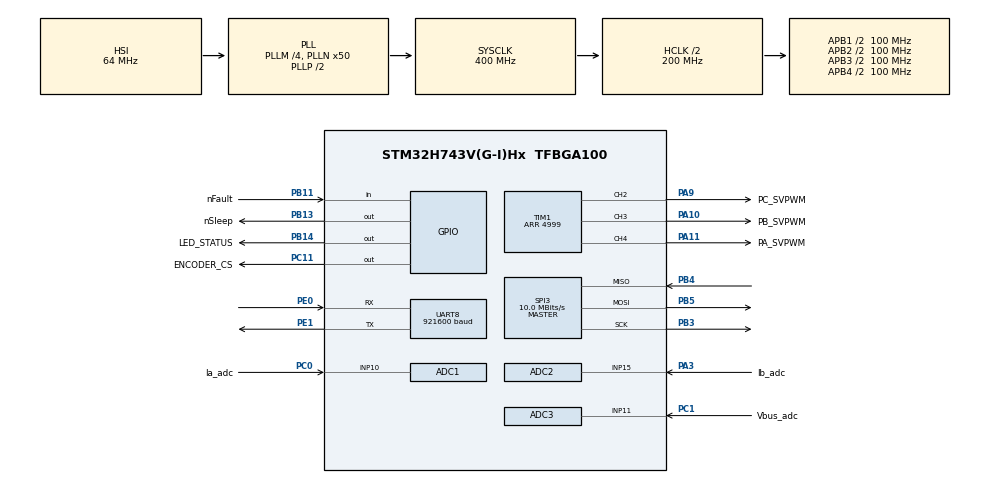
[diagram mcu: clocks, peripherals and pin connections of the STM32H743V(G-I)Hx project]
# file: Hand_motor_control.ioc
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ADC1.Channel-2\#ChannelRegularConversion=ADC_CHANNEL_10
ADC1.ClockPrescaler=ADC_CLOCK_ASYNC_DIV1
ADC1.EnableInjectedConversion=ENABLE
ADC1.ExternalTrigInjecConv=ADC_EXTERNALTRIGINJEC_T1_TRGO
ADC1.ExternalTrigInjecConvEdge=ADC_EXTERNALTRIGINJECCONV_EDGE_FALLING
ADC1.InjNumberOfConversion=1
ADC1.InjectedChannel-3\#ChannelInjectedConversion=ADC_CHANNEL_10
ADC1.InjectedOffsetNumber-3\#ChannelInjectedConversion=ADC_OFFSET_NONE
ADC1.InjectedOffsetSaturation-3\#ChannelInjectedConversion=DISABLE
ADC1.InjectedOffsetSignedSaturation-3\#ChannelInjectedConversion=DISABLE
ADC1.InjectedRank-3\#ChannelInjectedConversion=1
ADC1.InjectedSamplingTime-3\#ChannelInjectedConversion=ADC_SAMPLETIME_1CYCLE_5
ADC1.NbrOfConversionFlag=1
ADC1.OffsetNumber-2\#ChannelRegularConversion=ADC_OFFSET_NONE
ADC1.OffsetSignedSaturation-2\#ChannelRegularConversion=DISABLE
ADC1.Rank-2\#ChannelRegularConversion=1
ADC1.SamplingTime-2\#ChannelRegularConversion=ADC_SAMPLETIME_1CYCLE_5
ADC1.master=1
ADC2.Channel-1\#ChannelRegularConversion=ADC_CHANNEL_15
ADC2.ContinuousConvMode=DISABLE
ADC2.EnableInjectedConversion=ENABLE
ADC2.EnableRegularConversion=ENABLE
ADC2.ExternalTrigInjecConv=ADC_EXTERNALTRIGINJEC_T1_TRGO
ADC2.ExternalTrigInjecConvEdge=ADC_EXTERNALTRIGINJECCONV_EDGE_FALLING
ADC2.InjNumberOfConversion=1
ADC2.InjectedChannel-2\#ChannelInjectedConversion=ADC_CHANNEL_15
ADC2.InjectedOffsetNumber-2\#ChannelInjectedConversion=ADC_OFFSET_NONE
ADC2.InjectedOffsetSaturation-2\#ChannelInjectedConversion=DISABLE
ADC2.InjectedOffsetSignedSaturation-2\#ChannelInjectedConversion=DISABLE
ADC2.InjectedRank-2\#ChannelInjectedConversion=1
ADC2.InjectedSamplingTime-2\#ChannelInjectedConversion=ADC_SAMPLETIME_1CYCLE_5
ADC2.NbrOfConversionFlag=1
ADC2.OffsetNumber-1\#ChannelRegularConversion=ADC_OFFSET_NONE
ADC2.OffsetSignedSaturation-1\#ChannelRegularConversion=DISABLE
ADC2.Rank-1\#ChannelRegularConversion=1
ADC2.SamplingTime-1\#ChannelRegularConversion=ADC_SAMPLETIME_1CYCLE_5
ADC3.Channel-0\#ChannelRegularConversion=ADC_CHANNEL_11
ADC3.ClockPrescaler=ADC_CLOCK_ASYNC_DIV1
ADC3.EnableInjectedConversion=ENABLE
ADC3.ExternalTrigInjecConv=ADC_EXTERNALTRIGINJEC_T1_TRGO
ADC3.ExternalTrigInjecConvEdge=ADC_EXTERNALTRIGINJECCONV_EDGE_FALLING
ADC3.InjNumberOfConversion=1
ADC3.InjectedChannel-1\#ChannelInjectedConversion=ADC_CHANNEL_11
ADC3.InjectedOffsetNumber-1\#ChannelInjectedConversion=ADC_OFFSET_NONE
ADC3.InjectedOffsetSaturation-1\#ChannelInjectedConversion=DISABLE
ADC3.InjectedOffsetSignedSaturation-1\#ChannelInjectedConversion=DISABLE
ADC3.InjectedRank-1\#ChannelInjectedConversion=1
ADC3.InjectedSamplingTime-1\#ChannelInjectedConversion=ADC_SAMPLETIME_1CYCLE_5
ADC3.NbrOfConversionFlag=1
ADC3.OffsetNumber-0\#ChannelRegularConversion=ADC_OFFSET_NONE
ADC3.OffsetSignedSaturation-0\#ChannelRegularConversion=DISABLE
ADC3.Rank-0\#ChannelRegularConversion=1
ADC3.SamplingTime-0\#ChannelRegularConversion=ADC_SAMPLETIME_1CYCLE_5
CORTEX_M7.default_mode_Activation=1
Dma.Request0=SPI3_RX
Dma.Request1=SPI3_TX
Dma.Request2=UART8_TX
Dma.SPI3_RX.0.Direction=DMA_PERIPH_TO_MEMORY
Dma.SPI3_RX.0.EventEnable=DISABLE
Dma.SPI3_RX.0.FIFOMode=DMA_FIFOMODE_DISABLE
Dma.SPI3_RX.0.Instance=DMA1_Stream0
Dma.SPI3_RX.0.MemDataAlignment=DMA_MDATAALIGN_BYTE
Dma.SPI3_RX.0.MemInc=DMA_MINC_ENABLE
Dma.SPI3_RX.0.Mode=DMA_NORMAL
Dma.SPI3_RX.0.PeriphDataAlignment=DMA_PDATAALIGN_BYTE
Dma.SPI3_RX.0.PeriphInc=DMA_PINC_DISABLE
Dma.SPI3_RX.0.Polarity=HAL_DMAMUX_REQ_GEN_RISING
Dma.SPI3_RX.0.Priority=DMA_PRIORITY_VERY_HIGH
Dma.SPI3_RX.0.RequestNumber=1
Dma.SPI3_RX.0.SignalID=NONE
Dma.SPI3_RX.0.SyncEnable=DISABLE
Dma.SPI3_RX.0.SyncPolarity=HAL_DMAMUX_SYNC_NO_EVENT
Dma.SPI3_RX.0.SyncRequestNumber=1
Dma.SPI3_RX.0.SyncSignalID=NONE
Dma.SPI3_TX.1.Direction=DMA_MEMORY_TO_PERIPH
Dma.SPI3_TX.1.EventEnable=DISABLE
Dma.SPI3_TX.1.FIFOMode=DMA_FIFOMODE_DISABLE
Dma.SPI3_TX.1.Instance=DMA1_Stream1
Dma.SPI3_TX.1.MemDataAlignment=DMA_MDATAALIGN_BYTE
Dma.SPI3_TX.1.MemInc=DMA_MINC_ENABLE
Dma.SPI3_TX.1.Mode=DMA_NORMAL
Dma.SPI3_TX.1.PeriphDataAlignment=DMA_PDATAALIGN_BYTE
Dma.SPI3_TX.1.PeriphInc=DMA_PINC_DISABLE
Dma.SPI3_TX.1.Polarity=HAL_DMAMUX_REQ_GEN_RISING
Dma.SPI3_TX.1.Priority=DMA_PRIORITY_VERY_HIGH
Dma.SPI3_TX.1.RequestNumber=1
Dma.SPI3_TX.1.SignalID=NONE
Dma.SPI3_TX.1.SyncEnable=DISABLE
Dma.SPI3_TX.1.SyncPolarity=HAL_DMAMUX_SYNC_NO_EVENT
Dma.SPI3_TX.1.SyncRequestNumber=1
Dma.SPI3_TX.1.SyncSignalID=NONE
Dma.UART8_TX.2.Direction=DMA_MEMORY_TO_PERIPH
Dma.UART8_TX.2.EventEnable=DISABLE
Dma.UART8_TX.2.FIFOMode=DMA_FIFOMODE_DISABLE
Dma.UART8_TX.2.Instance=DMA1_Stream3
Dma.UART8_TX.2.MemDataAlignment=DMA_MDATAALIGN_BYTE
Dma.UART8_TX.2.MemInc=DMA_MINC_ENABLE
Dma.UART8_TX.2.Mode=DMA_NORMAL
Dma.UART8_TX.2.PeriphDataAlignment=DMA_PDATAALIGN_BYTE
Dma.UART8_TX.2.PeriphInc=DMA_PINC_DISABLE
Dma.UART8_TX.2.Polarity=HAL_DMAMUX_REQ_GEN_RISING
Dma.UART8_TX.2.Priority=DMA_PRIORITY_MEDIUM
Dma.UART8_TX.2.RequestNumber=1
Dma.UART8_TX.2.SignalID=NONE
Dma.UART8_TX.2.SyncEnable=DISABLE
Dma.UART8_TX.2.SyncPolarity=HAL_DMAMUX_SYNC_NO_EVENT
Dma.UART8_TX.2.SyncRequestNumber=1
Dma.UART8_TX.2.SyncSignalID=NONE
Mcu.Family=STM32H7
Mcu.Name=STM32H743V(G-I)Hx
Mcu.Package=TFBGA100
NVIC.ADC_IRQn=true\:1\:0\:true\:false\:true\:true\:true\:true
NVIC.DMA1_Stream0_IRQn=true\:0\:0\:false\:false\:true\:false\:true\:true
NVIC.DMA1_Stream1_IRQn=true\:0\:0\:false\:false\:true\:false\:true\:true
NVIC.DMA1_Stream3_IRQn=true\:7\:0\:true\:false\:true\:false\:true\:true
NVIC.PriorityGroup=NVIC_PRIORITYGROUP_4
NVIC.SPI3_IRQn=true\:0\:0\:false\:false\:true\:false\:true\:true
NVIC.TIM7_IRQn=true\:5\:0\:true\:false\:true\:true\:true\:true
NVIC.UART8_IRQn=true\:7\:0\:true\:false\:true\:true\:true\:true
PA0.GPIO_Label=NTC
PA0.Signal=ADC1_INP16
PA10.GPIO_Label=PB_SVPWM
PA10.Signal=S_TIM1_CH3
PA11.GPIO_Label=PA_SVPWM
PA11.Signal=S_TIM1_CH4
PA13\ (JTMS/SWDIO).Signal=DEBUG_JTMS-SWDIO
PA14\ (JTCK/SWCLK).Signal=DEBUG_JTCK-SWCLK
PA3.GPIO_Label=Ib_adc
PA3.Signal=ADCx_INP15
PA9.GPIO_Label=PC_SVPWM
PA9.Signal=S_TIM1_CH2
PB11.GPIO_Label=nFault
PB11.Signal=GPIO_Input
PB13.GPIO_Label=nSleep
PB13.GPIO_OutputLevel=GPIO_PIN_SET
PB13.Signal=GPIO_Output
PB14.GPIO_Label=LED_STATUS
PB14.Signal=GPIO_Output
PB3\ (JTDO/TRACESWO).GPIO_Mode=GPIO_MODE_AF_PP
PB3\ (JTDO/TRACESWO).GPIO_PuPd=GPIO_NOPULL
PB3\ (JTDO/TRACESWO).GPIO_Speed=GPIO_SPEED_FREQ_VERY_HIGH
PB3\ (JTDO/TRACESWO).Mode=Full_Duplex_Master
PB3\ (JTDO/TRACESWO).Signal=SPI3_SCK
PB4\ (NJTRST).GPIO_Mode=GPIO_MODE_AF_PP
PB4\ (NJTRST).GPIO_PuPd=GPIO_NOPULL
PB4\ (NJTRST).GPIO_Speed=GPIO_SPEED_FREQ_VERY_HIGH
PB4\ (NJTRST).Mode=Full_Duplex_Master
PB4\ (NJTRST).Signal=SPI3_MISO
PB5.GPIO_Mode=GPIO_MODE_AF_PP
PB5.GPIO_PuPd=GPIO_NOPULL
PB5.GPIO_Speed=GPIO_SPEED_FREQ_VERY_HIGH
PB5.Mode=Full_Duplex_Master
PB5.Signal=SPI3_MOSI
PC0.GPIO_Label=Ia_adc
PC0.Signal=ADCx_INP10
PC1.GPIO_Label=Vbus_adc
PC1.Signal=ADCx_INP11
PC11.GPIO_Label=ENCODER_CS
PC11.GPIO_OutputLevel=GPIO_PIN_SET
PC11.GPIO_PuPd=GPIO_PULLUP
PC11.GPIO_Speed=GPIO_SPEED_FREQ_HIGH
PC11.Signal=GPIO_Output
PC14-OSC32_IN\ (OSC32_IN).Mode=LSE-External-Oscillator
PC14-OSC32_IN\ (OSC32_IN).Signal=RCC_OSC32_IN
PC15-OSC32_OUT\ (OSC32_OUT).Mode=LSE-External-Oscillator
PC15-OSC32_OUT\ (OSC32_OUT).Signal=RCC_OSC32_OUT
PE0.Mode=Asynchronous
PE0.Signal=UART8_RX
PE1.Mode=Asynchronous
PE1.Signal=UART8_TX
PE4.Signal=SPI4_NSS
PE5.Signal=SPI4_MISO
PE6.Signal=SPI4_MOSI
PH0-OSC_IN\ (PH0).Mode=HSE-External-Oscillator
PH0-OSC_IN\ (PH0).Signal=RCC_OSC_IN
PH1-OSC_OUT\ (PH1).Mode=HSE-External-Oscillator
PH1-OSC_OUT\ (PH1).Signal=RCC_OSC_OUT
ProjectManager.HeapSize=0x200
ProjectManager.StackSize=0x400
ProjectManager.TargetToolchain=STM32CubeIDE
RCC.ADCFreq_Value=80000000
RCC.APB1Freq_Value=100000000
RCC.APB2Freq_Value=100000000
RCC.APB3Freq_Value=100000000
RCC.APB4Freq_Value=100000000
RCC.CortexFreq_Value=400000000
RCC.D1PPRE=RCC_APB3_DIV2
RCC.D2PPRE1=RCC_APB1_DIV2
RCC.D2PPRE2=RCC_APB2_DIV2
RCC.D3PPRE=RCC_APB4_DIV2
RCC.DIVM1=4
RCC.DIVM2=4
RCC.DIVM3=4
RCC.DIVN1=50
RCC.DIVN2=10
RCC.DIVN3=10
RCC.DIVP3=1
RCC.HCLKFreq_Value=200000000
RCC.HPRE=RCC_HCLK_DIV2
RCC.PLL3FRACN=0
RCC.SPI123CLockSelection=RCC_SPI123CLKSOURCE_PLL3
RCC.SYSCLKFreq_VALUE=400000000
RCC.SYSCLKSource=RCC_SYSCLKSOURCE_PLLCLK
RCC.USBFreq_Value=400000000
SH.ADCx_INP10.0=ADC1_INP10,IN10-Single-Ended
SH.ADCx_INP11.0=ADC3_INP11,IN11-Single-Ended
SH.ADCx_INP15.0=ADC2_INP15,IN15-Single-Ended
SH.S_TIM1_CH2.0=TIM1_CH2,PWM Generation2 CH2
SH.S_TIM1_CH3.0=TIM1_CH3,PWM Generation3 CH3
SH.S_TIM1_CH4.0=TIM1_CH4,PWM Generation4 CH4
SPI3.BaudRatePrescaler=SPI_BAUDRATEPRESCALER_16
SPI3.CLKPhase=SPI_PHASE_2EDGE
SPI3.CLKPolarity=SPI_POLARITY_HIGH
SPI3.CalculateBaudRate=10.0 MBits/s
SPI3.DataSize=SPI_DATASIZE_8BIT
SPI3.Direction=SPI_DIRECTION_2LINES
SPI3.MasterKeepIOState=SPI_MASTER_KEEP_IO_STATE_ENABLE
SPI3.Mode=SPI_MODE_MASTER
SPI3.NSSPMode=SPI_NSS_PULSE_DISABLE
SPI3.VirtualType=VM_MASTER
STMicroelectronics.X-CUBE-ALGOBUILD.1.5.0.LibraryCcDSPOoLibraryJjDSPOoLibrary=true
TIM1.AutoReloadPreload=TIM_AUTORELOAD_PRELOAD_ENABLE
TIM1.Channel-PWM\ Generation1\ No\ Output=TIM_CHANNEL_1
TIM1.Channel-PWM\ Generation2\ CH2=TIM_CHANNEL_2
TIM1.Channel-PWM\ Generation3\ CH3=TIM_CHANNEL_3
TIM1.Channel-PWM\ Generation4\ CH4=TIM_CHANNEL_4
TIM1.CounterMode=TIM_COUNTERMODE_CENTERALIGNED1
TIM1.Period=4999
TIM1.Pulse-PWM\ Generation1\ No\ Output=4995
TIM1.TIM_MasterOutputTrigger=TIM_TRGO_OC1REF
TIM2.Prescaler=199
TIM7.Period=999
TIM7.Prescaler=1999
UART8.BaudRate=921600
UART8.Mode=MODE_TX
VP_MEMORYMAP_VS_MEMORYMAP.Mode=CurAppReg
VP_STMicroelectronics.X-CUBE-ALGOBUILD_VS_DSPOoLibraryJjLibrary_1.5.0_1.5.0.Mode=DSPOoLibraryJjLibrary
VP_TIM1_VS_no_output1.Mode=PWM Generation1 No Output
VP_TIM2_VS_ClockSourceINT.Mode=Internal
VP_TIM7_VS_ClockSourceINT.Mode=Enable_Timer
board=custom

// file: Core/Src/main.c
/* USER CODE BEGIN Header */
/**
  ******************************************************************************
  * @file           : main.c
  * @brief          : Main program body
  ******************************************************************************
  * @attention
  *
  * Copyright (c) 2026 STMicroelectronics.
  * All rights reserved.
  *
  * This software is licensed under terms that can be found in the LICENSE file
  * in the root directory of this software component.
  * If no LICENSE file comes with this software, it is provided AS-IS.
  *
  ******************************************************************************
  */
/* USER CODE END Header */
#include "main.h"
#include "adc.h"
#include "dma.h"
#include "memorymap.h"
#include "spi.h"
#include "tim.h"
#include "usart.h"
#include "gpio.h"

/* USER CODE BEGIN Includes */
#include <foc.h>
#include <foc_math.h>
#include "arm_math.h"
#include <gpio_port.h>
#include <pwm_port.h>
#include "current_sensor.h"
#include <config.h>
#include "Calib.h"
#include "encoder_mt6826.h"
#include "adrc.h"
#include "uart_logger.h"
/* USER CODE END Includes */

/* USER CODE BEGIN PV */

	// KHỞI TẠO BIẾN, STATE , STRUCT FOC
	volatile uint32_t foc_elapsed_time = 0;

	volatile uint32_t spi3_elapsed_time = 0;

	volatile float current_homing = 0;

	uint32_t homing_start_tick = 0U;

	uint32_t homing_stall_start_tick = 0U;

	foc_t foc;																	// MANAGE STATES FOC

	current_sensor_t current_sensor;											// MANAGE STATE FEEDBACK DÒNG

	encoder_t encoder;															// MANAGE FEEDBACK ENCODER

	// KHỞI TẠO STRUCT MANAGE

	volatile sys_state_t sys_state = SYS_IDLE;									// MANAGE STATE PROGRAM

	volatile ctrl_mode_t ctrl_mode = POS_CTRL_MODE;								// MANAGE MODE CONTROL (DEFAULT LÀ POSITION )

	// MANAGE USER COMMAND (HIGH LEVEL)
	volatile user_command_t user_command = { .user_cmd_mode = POS_CTRL_MODE, .pos_ref_deg = 0.0f, .id_ref = 0.0f, .iq_ref = 0.0f,

											 .rpm_ref = 0.0f,   .vd_ref = 0.0f,  .vq_ref = 0.0f,  .theta_e_ref = 0.0f };

	// KHỞI TẠO STRUCT MANAGE FLAG
	volatile flag_t sys_flag = { .start_req = 1U, .run_req = 0U, .stop_req = 0U, .mcu_reset_req = 0U,

								.change_mode = 0U, .current_offset_done = 0, .homing_done = 0U, .calib_encoder_offet_done = 0U};

	// KHỞI TẠO START UP STAGE
	volatile start_up_stage_t start_up_stage = POWER_UP;

	// KHỞI TẠO ADRC CONTROLLER
	LADRC_t ladrc;

/* USER CODE END PV */

void SystemClock_Config(void);
void PeriphCommonClock_Config(void);
static void MPU_Config(void);

int main(void)
{

  /* MPU Configuration--------------------------------------------------------*/
  MPU_Config();

  /* MCU Configuration--------------------------------------------------------*/

  /* Reset of all peripherals, Initializes the Flash interface and the Systick. */
  HAL_Init();

  /* USER CODE BEGIN Init */

  // BẬT I-CACHE
  SCB_EnableICache();

  /* USER CODE END Init */

  /* Configure the system clock */
  SystemClock_Config();

  /* Configure the peripherals common clocks */
  PeriphCommonClock_Config();

  /* Initialize all configured peripherals */
  MX_GPIO_Init();
  MX_DMA_Init();
  MX_ADC1_Init();
  MX_ADC2_Init();
  MX_ADC3_Init();
  MX_SPI3_Init();
  MX_TIM1_Init();
  MX_TIM2_Init();
  MX_TIM7_Init();
  MX_UART8_Init();
  /* USER CODE BEGIN 2 */

//  foc_voltage_bus_read(&foc);
//
//  run_calib_encoder(&foc, &encoder, CALIB_CYCLE);

  uint32_t start_time = HAL_GetTick();

  /* USER CODE END 2 */

  /* Infinite loop */

  /* USER CODE BEGIN WHILE */
  while (1)
  {
	  // LED BLINKING JUST FOR VISUALIZE 1 secs
	  if(HAL_GetTick() - start_time >= 1500U){

		  HAL_GPIO_TogglePin(LED_STATUS_GPIO_Port, LED_STATUS_Pin);					// Nháy led

		  start_time = HAL_GetTick();

	  }

	  //YÊU CẦU RESET MCU
	  if(sys_flag.mcu_reset_req == 1){

		  NVIC_SystemReset();

	  }

	  switch(sys_state){

	  	  // IDLE: KHÔNG LÀM GÌ CẢ (HIỆN TẠI CHƯA DEVELOP CASE NÀY)
		  case SYS_IDLE:

			  // NẾU CHƯA START THÌ TẮT DRIVER
			  if(sys_flag.start_req != 1){

				  drv_disable();												// TẮT DRIVER

				  pwm_set(1000, 1000, 1000);									// KHÔNG CHẠY MOTOR

				  sys_state = SYS_IDLE;											// CHƯA START THÌ VẪN Ở IDLE

				  break;
			  }

			  sys_flag.start_req = 0U;											// RESET FLAG

			  start_up_stage = POWER_UP;								      	// SET STAGE POWER UP

			  sys_state = SYS_START_UP;								      		// MOVE TO START UP STATE

			  break;

		 // MODE START UP KHI BẬT NGUỒN
		  case SYS_START_UP:

			  switch(start_up_stage){

			  	  // BẬT DRIVER, INIT FOC, CONTROLLER, ADC, PWM
			  	  case POWER_UP:

			  		  encoder_init(&encoder);													// INIT ENCODER

			  		  current_homing = 0.0f;													// RESET DÒNG HOME

			  		  homing_start_tick = 0U;													// RESET THỜI GIAN HOME

			  		  homing_stall_start_tick = 0U;

			  		  foc_init(&foc);															// KHỞI TẠO FOC

					  ladrc_init(&ladrc, CURRENT_MAX, -CURRENT_MAX);							// KHỞI TẠO ADRC SPEED CONTROLLER

			  		  // SLAVE INIT (CHƯA DEVELOP)

			  		  current_sensor_init(&current_sensor);										// KHỞI TẠO CURRENT SENSOR

			  		  drv_enable();																// BẬT DRIVER CURRENT

			  		  adc_start();																// BẬT ADC INJECTED

			  		  pwm_start();																// BẬT TIMER TẠO TRGO, DUTY 3 PHA BẰNG 50%

			  		  // SET DUTY 3 PHA BẰNG 50% NHẰM CALIB CURRENT SENSOR
					  pwm_set((uint32_t)  htim1.Init.Period / 2U,   (uint32_t) htim1.Init.Period / 2U, (uint32_t) htim1.Init.Period / 2U);

			  		  start_up_stage = CURRENT_OFFSET;

			  		  sys_flag.current_offset_done = 0U;

			  		  sys_flag.homing_done = 0U;

			  		  break;

			  	 // CALIB CURRENT OFFSET
			  	  case CURRENT_OFFSET:

			  		  // OFFSET DÒNG SẼ LẤY TRONG NGẮT ADC INJECTED
			  		  if(sys_flag.current_offset_done != 1){

			  			  break;

			  		  }

			  		  foc.offset_current_a = current_sensor.offset_a;

			  		  foc.offset_current_b = current_sensor.offset_b;

			  		  start_up_stage = WAIT_ENCODER;

			  		  break;

			  	 // CHỜ FRAME ENCODER HỢP LỆ ĐẦU TIÊN
			  	  case WAIT_ENCODER:

			  		  // CHỜ FIRST VALUE CỦA ENCODER
			  		  if(encoder.angle_initialized == 0U){

			  			  break;

			  		  }

					  sys_flag.calib_encoder_offet_done = 0;

					  start_up_stage = AUTO_CALIB;

					  break;

				  // CALIB ENCODER OFFSET
				  case AUTO_CALIB:
				  {
					  foc_off(&foc);

					  ladrc_reset(&ladrc);

					  // ADC ISR KHÔNG START DMA MỚI; CHỜ FRAME ĐANG CHẠY KẾT THÚC.
					  uint32_t dma_wait_tick = HAL_GetTick();

					  while (encoder.dma_busy && (HAL_GetTick() - dma_wait_tick < 10U)) {

					  }

					  if (encoder.dma_busy || !run_calib_encoder(&foc, &encoder, CALIB_CYCLE)) {

						  foc_off(&foc);

						  drv_disable();

						  sys_state = SYS_FAULT;

						  break;
					  }

					  // BỎ DELTA TÍCH LŨY TỪ CÁC LẦN ĐỌC POLLING TRƯỚC KHI ĐO TỐC ĐỘ LẠI.
					  encoder.angle_delta_sum = 0.0f;

					  encoder.speed_cnt = 0U;

					  encoder.speed_after_gear = 0.0f;

					  encoder.speed_filter_after_gear = 0.0f;

					  sys_flag.calib_encoder_offet_done = 1;

			  		  current_homing = 0.0f;

			  		  homing_start_tick = 0U;

			  		  homing_stall_start_tick = 0U;

			  		  start_up_stage = HOMING;

			  		  break;
				  }

			  	 // HOMING MECHANICAL
			  	  case HOMING:

			  		  uint32_t now = HAL_GetTick();

			  		  if(homing_start_tick == 0U){

			  			  homing_start_tick = now;

			  		  }

			  		// KHỞI TẠO DÒNG HOME
			  		  if(MOTOR_TYPE == 1)

						  current_homing = CURRENT_HOME;						// BƠM DÒNG DƯƠNG FOR HOME NẾU TYPE 1

			  		  else

			  			  current_homing = - CURRENT_HOME;						// BƠM DÒNG ÂM FOR HOME NẾU KHÔNG PHẢI TYPE 1

			  		// VERIFY TOUCH THE MECHANICAL LIMIT (VỀ HOME)
			  		  if((now - homing_start_tick) >= HOMING_DRIVE_TIME_MS){

			  			  float speed_abs = encoder.speed_filter_after_gear;

			  			  if(speed_abs < 0.0f){

			  				  speed_abs = -speed_abs;

			  			  }

			  			  if(speed_abs <= HOMING_SPEED_DEADBAND_RPM){

			  				  if(homing_stall_start_tick == 0U){

			  					  homing_stall_start_tick = now;

			  				  }
			  				  else if((now - homing_stall_start_tick) >= HOMING_STALL_TIME_MS){

			  					  sys_flag.homing_done = 1U;

			  				  }
			  			  }

			  			  else{

			  				  homing_stall_start_tick = 0U;

			  			  }
			  		  }

			  		  // UPDATE GÓC HOME KHI HOMING DONE
			  		  if(sys_flag.homing_done == 1){

			  			  sys_flag.homing_done = 0U;

			  			  encoder.mechanical_zero_angle = encoder.multi_angle_m ;

			  			  encoder.mechanical_angle = 0.0f;

			  			  encoder.mechanical_angle_deg = 0.0f;

			  			  encoder.angle_delta_sum = 0.0f;

			  			  encoder.speed_cnt = 0U;

			  			  encoder.speed_after_gear = 0.0f;

			  			  encoder.speed_filter_after_gear = 0.0f;

			  			  current_homing = 0.0f;

			  			  // KHỞI TẠO GIỚI HẠN MECHANICAL

			  			  start_up_stage = START_UP_DONE;

			  			  break;

			  		  }

			  		  break;

			  	 // START_UP DONE
			  	  case START_UP_DONE:

			  		  start_up_stage = START_UP_DONE;

			  		  sys_state = SYS_READY;

			  		  HAL_Delay(200);														// DELAY 200MS FOR STABILIZING

			  		  break;

			  }

			  break;

		 // MODE READY: SẴN SÀNG CHẠY KHI CÓ YÊU CẦU
		  case SYS_READY:

			  // KHI CÓ YÊU CẦU DỪNG
			  if(sys_flag.stop_req == 1){

				  sys_flag.stop_req = 0 ;

				  foc_off(&foc);															 // TẮT FOC

				  sys_state = SYS_READY;													 // STAY READY

				  break;
			  }

			  // KHI CÓ YÊU CẦU CHẠY HOẶC CHUYỂN MODE
			  if(sys_flag.run_req == 1 || sys_flag.change_mode == 1){

				  sys_flag.change_mode = 0;										              // RESET CỜ

				  sys_flag.run_req = 0 ;									  	              // RESET CỜ

				  // RESET TOÀN BỘ CONTROL STATE TRƯỚC KHI CHẠY MODE MỚI
				  foc_off(&foc);

				  ladrc_reset(&ladrc);

				  ctrl_mode = user_command.user_cmd_mode;

				  sys_state = SYS_RUNNING;									    		     // CONVERT QUA MODE RUNNING

				  HAL_Delay(200);															 // DELAY FOR STABILIZING

				  break;
			  }

			  break;

		  // RUNNING: MODE CONTROL RUN
	  	  case SYS_RUNNING:

	  		 // KHI CÓ YÊU CẦU DỪNG
	  		  if(sys_flag.stop_req == 1){

	  			  sys_flag.stop_req = 0;													// RESET CỜ

				  sys_state = SYS_READY;												    // STOP CONTROL VÀ BACK TO READY

	  			  break;
	  		  }

			  // KHI RUNNING MÀ NGƯỜI DÙNG CONVERT MODE (SAU NÀY SẼ CÓ THỂ CHANGE KHI THỰC HIỆN MASTER SPI)
	  		  if(ctrl_mode != user_command.user_cmd_mode){

	  			  // DỪNG CONTROL TRƯỚC; ADC ISR SẼ CHƯA  OUTPUT VỀ 0
	  			  sys_state = SYS_READY;

	  			  sys_flag.change_mode = 1;

				  // SET POSITION , SPEED , DÒNG HIỆN TẠI
	  			  user_command.pos_ref_deg = encoder.mechanical_angle_deg;

	  			  user_command.rpm_ref = 0.0f;

	  			  user_command.id_ref = 0.0f;

	  			  user_command.iq_ref = 0.0f;

	  			  break;
	  		  }

	  		  break;

          // FAULT: KHI XẢY RA FAULT (CHƯA DEVELOP)
	  	  case SYS_FAULT:

	  		  break;

	  	  default:

	  		  // STOP MOTOR
	  		  pwm_set((uint32_t)  htim1.Init.Period / 2U, (uint32_t) htim1.Init.Period / 2U, (uint32_t) htim1.Init.Period / 2U);

	  		  break;
	  }

    /* USER CODE END WHILE */

  }
}

void SystemClock_Config(void)
{
  RCC_OscInitTypeDef RCC_OscInitStruct = {0};
  RCC_ClkInitTypeDef RCC_ClkInitStruct = {0};

  /** Supply configuration update enable
  */
  HAL_PWREx_ConfigSupply(PWR_LDO_SUPPLY);

  /** Configure the main internal regulator output voltage
  */
  __HAL_PWR_VOLTAGESCALING_CONFIG(PWR_REGULATOR_VOLTAGE_SCALE1);

  while(!__HAL_PWR_GET_FLAG(PWR_FLAG_VOSRDY)) {}

  /** Initializes the RCC Oscillators according to the specified parameters
  * in the RCC_OscInitTypeDef structure.
  */
  RCC_OscInitStruct.OscillatorType = RCC_OSCILLATORTYPE_HSI;
  RCC_OscInitStruct.HSIState = RCC_HSI_DIV1;
  RCC_OscInitStruct.HSICalibrationValue = RCC_HSICALIBRATION_DEFAULT;
  RCC_OscInitStruct.PLL.PLLState = RCC_PLL_ON;
  RCC_OscInitStruct.PLL.PLLSource = RCC_PLLSOURCE_HSI;
  RCC_OscInitStruct.PLL.PLLM = 4;
  RCC_OscInitStruct.PLL.PLLN = 50;
  RCC_OscInitStruct.PLL.PLLP = 2;
  RCC_OscInitStruct.PLL.PLLQ = 2;
  RCC_OscInitStruct.PLL.PLLR = 2;
  RCC_OscInitStruct.PLL.PLLRGE = RCC_PLL1VCIRANGE_3;
  RCC_OscInitStruct.PLL.PLLVCOSEL = RCC_PLL1VCOWIDE;
  RCC_OscInitStruct.PLL.PLLFRACN = 0;
  if (HAL_RCC_OscConfig(&RCC_OscInitStruct) != HAL_OK)
  {
    Error_Handler();
  }

  /** Initializes the CPU, AHB and APB buses clocks
  */
  RCC_ClkInitStruct.ClockType = RCC_CLOCKTYPE_HCLK|RCC_CLOCKTYPE_SYSCLK
                              |RCC_CLOCKTYPE_PCLK1|RCC_CLOCKTYPE_PCLK2
                              |RCC_CLOCKTYPE_D3PCLK1|RCC_CLOCKTYPE_D1PCLK1;
  RCC_ClkInitStruct.SYSCLKSource = RCC_SYSCLKSOURCE_PLLCLK;
  RCC_ClkInitStruct.SYSCLKDivider = RCC_SYSCLK_DIV1;
  RCC_ClkInitStruct.AHBCLKDivider = RCC_HCLK_DIV2;
  RCC_ClkInitStruct.APB3CLKDivider = RCC_APB3_DIV2;
  RCC_ClkInitStruct.APB1CLKDivider = RCC_APB1_DIV2;
  RCC_ClkInitStruct.APB2CLKDivider = RCC_APB2_DIV2;
  RCC_ClkInitStruct.APB4CLKDivider = RCC_APB4_DIV2;

  if (HAL_RCC_ClockConfig(&RCC_ClkInitStruct, FLASH_LATENCY_2) != HAL_OK)
  {
    Error_Handler();
  }
}

void PeriphCommonClock_Config(void)
{
  RCC_PeriphCLKInitTypeDef PeriphClkInitStruct = {0};

  /** Initializes the peripherals clock
  */
  PeriphClkInitStruct.PeriphClockSelection = RCC_PERIPHCLK_ADC;
  PeriphClkInitStruct.PLL2.PLL2M = 4;
  PeriphClkInitStruct.PLL2.PLL2N = 10;
  PeriphClkInitStruct.PLL2.PLL2P = 2;
  PeriphClkInitStruct.PLL2.PLL2Q = 2;
  PeriphClkInitStruct.PLL2.PLL2R = 2;
  PeriphClkInitStruct.PLL2.PLL2RGE = RCC_PLL2VCIRANGE_3;
  PeriphClkInitStruct.PLL2.PLL2VCOSEL = RCC_PLL2VCOMEDIUM;
  PeriphClkInitStruct.PLL2.PLL2FRACN = 0;
  PeriphClkInitStruct.AdcClockSelection = RCC_ADCCLKSOURCE_PLL2;
  if (HAL_RCCEx_PeriphCLKConfig(&PeriphClkInitStruct) != HAL_OK)
  {
    Error_Handler();
  }
}

/* USER CODE BEGIN 4 */

// HÀM NGẮT SPI
void HAL_SPI_TxRxCpltCallback(SPI_HandleTypeDef *hspi)
{
	// NGẮT SPI3 LÀ ENCODER DMA, THỜI GIAN HIỆN TẠI LÀ 1-2 US
	if(hspi->Instance == SPI3){

//		  __HAL_TIM_SET_COUNTER(&htim2, 0);

		// KÉO CHÂN LÊN 1 END TRUYỀN SPI DMA
		HAL_GPIO_WritePin(ENCODER_CS_GPIO_Port, ENCODER_CS_Pin, GPIO_PIN_SET);

		// READ VALUE ENCODER
		encoder_Read_Angle(&encoder);

		encoder.dma_busy = false;

//		spi3_elapsed_time = __HAL_TIM_GET_COUNTER(&htim2);

	}
}

// NẾU LỖI NHẢY VÀO SET ENCODER LỖI
void HAL_SPI_ErrorCallback(SPI_HandleTypeDef *hspi)
{
	if (hspi->Instance == SPI3) {

		encoder_DMA_Error(&encoder);

	}
}

// NGẮT ADC
void HAL_ADCEx_InjectedConvCpltCallback(ADC_HandleTypeDef *hadc){

  if (hadc->Instance == ADC1) {

	  __HAL_TIM_SET_COUNTER(&htim2, 0);

	// NẾU MÀ CHƯA GET OFFSET XONG THÌ SẼ LẤY OFFSET (SẼ CHƯA  LÊN CASE START_UP)
    if (sys_flag.current_offset_done == 0) {

      sys_flag.current_offset_done = current_sensor_get_offset(&current_sensor);

      return;
    }

    //VOLTAGE BUS READ
	 foc_voltage_bus_read(&foc);

	 // READ CURRENT
	 current_sensor_read(&foc, &current_sensor);

	 // CALIB GIỮ QUYỀN ĐIỀU KHIỂN PWM VÀ SPI POLLING; ADC VẪN ĐO DÒNG/VBUS.
	 if ((sys_state == SYS_START_UP) && (start_up_stage == AUTO_CALIB)) {

		 return;

	 }

	 encoder_Update_Speed(&encoder);

	 encoder_Start_Read_DMA(&encoder);

    // RUNNING: DISPATCH MODE CONTROL
    if (sys_state == SYS_RUNNING) {

		switch (ctrl_mode) {

			case POS_CTRL_MODE:
			{

				// BẢO VỆ GÓC TRONG HÀNH TRÌNH MECHANICAL

				float pos_ref_rad = DEG_TO_RAD(user_command.pos_ref_deg);

				pos_ref_rad = CONSTRAIN(pos_ref_rad, ANGLE_MIN, ANGLE_MAX);

				foc_ctrl_pos_run(&foc, &encoder, pos_ref_rad);										// RUN POSITION CONTROLLER

				break;
			}

			case SPEED_CTRL_MODE:

				// BẢO VỆ SPEED TRONG DẢI HOAT ĐỘNG

				if(user_command.rpm_ref > SPEED_LIMIT){

					user_command.rpm_ref = SPEED_LIMIT;

				}

				if (user_command.rpm_ref < -SPEED_LIMIT){

					user_command.rpm_ref = - SPEED_LIMIT;
				}

				if(user_command.pos_ref_deg < ANGLE_MIN){

					user_command.pos_ref_deg = ANGLE_MIN;

				}

				foc_speed_ctrl_run(&foc, &encoder, user_command.rpm_ref);							// RUN SPEED CONTROLLER

//				foc.speed_cnt++;
//
//				if(foc.speed_cnt >= SPEED_DIV){
//
//					// TEST ADRC SPEED CONTROLLER
//
//					foc.iq = ladrc_update(&ladrc, user_command.rpm_ref, encoder.speed_after_gear);
//
//					foc.id = 0 ;
//
//					foc.speed_cnt = 0 ;
//				}
//
//					foc_current_limit_dq(&foc, &foc.id, &foc.iq);
//
//					foc_current_ctrl_run(&foc, &encoder, foc.id, foc.iq);

				break;

			case CURRENT_CTRL_MODE:
			{

				float id_ref = user_command.id_ref;

				float iq_ref = user_command.iq_ref;

				foc_current_limit_dq(&foc, &id_ref, &iq_ref);										// SATURATION DÒNG

				foc.id = id_ref;

				foc.iq = iq_ref;

				foc_current_ctrl_run(&foc, &encoder, foc.id, foc.iq);								// RUN CURRENT CONTROLLER

				break;
			}

			case OPEN_LOOP_CTRL_VOLTAGE:
			{
				// TÍNH DÒNG FEEDBACK ID IQ FOR LOG DATA TUNNING KHI CẦN

				const float sin_theta = arm_sin_f32(encoder.theta_e);

				const float cos_theta = arm_cos_f32(encoder.theta_e);

				clarke_park_transform(foc.ia_fb, foc.ib_fb, foc.ic_fb, sin_theta, cos_theta, &foc.id_fb, &foc.iq_fb);

				foc_open_loop_control(&foc, user_command.vd_ref, user_command.vq_ref, user_command.theta_e_ref);

				break;
			}

			case CALIB_ENCODER_MODE:																// DEVELOP SAU

			case MIT_CTRL_MODE:																		// DEVELOP SAU

			default:

				foc_off(&foc);																		// TẮT MOTOR, RESET BỘ CONTROL

				ladrc_reset(&ladrc);

				break;
		}
    }

    // START_UP/HOMING: CHỈ CHẠY VÒNG DÒNG SAU KHI ENCODER HỢP LỆ.
    else if ((sys_state == SYS_START_UP) && (start_up_stage == HOMING)) {

		if (encoder.angle_initialized == false) {

			foc_off(&foc);

			return;
		}

		foc_current_ctrl_run(&foc, &encoder, 0.0f, current_homing);

    }

    // STATE/STAGE CÒN LẠI KHÔNG CONTROL
    else {

		  foc_off(&foc);

		  ladrc_reset(&ladrc);

		  return;

    }

    foc_elapsed_time = __HAL_TIM_GET_COUNTER(&htim2);

  }
}

// NGẮT TIMER
void HAL_TIM_PeriodElapsedCallback(TIM_HandleTypeDef *htim)
{
    if (htim->Instance == TIM7){

    	float log_data[UART_LOG_N];

    	// INIT ALL DATA TO NaN
    	UART_Log_Init(log_data);

		// FEEDBACK AND APPLIED VOLTAGE
		log_data[LOG_IQ]       = foc.iq_fb;

		log_data[LOG_ID]       = foc.id_fb;

		log_data[LOG_VQ]       = foc.vq;

		log_data[LOG_VD]       = foc.vd;

		log_data[LOG_SPEED]    = encoder.speed_filter_after_gear;

		log_data[LOG_POSITION] = encoder.mechanical_angle_deg;

		log_data[LOG_V_BUS] = foc.v_bus;

		log_data[LOG_SYS_STAGE] = sys_state;

		log_data[LOG_BOOT_STAGE] = 0;

		switch (ctrl_mode) {

			case POS_CTRL_MODE:

				log_data[LOG_POSITION_REF] = user_command.pos_ref_deg;

				log_data[LOG_SPEED_REF] = foc.omega_ref_rpm;

				log_data[LOG_IQ_REF] = foc.iq;

				log_data[LOG_ID_REF] = foc.id;

				break;

			case SPEED_CTRL_MODE:

				log_data[LOG_SPEED_REF] = user_command.rpm_ref;

				log_data[LOG_IQ_REF] = foc.iq;

				log_data[LOG_ID_REF] = foc.id;

				break;

			case CURRENT_CTRL_MODE:

				log_data[LOG_IQ_REF] = foc.iq;

				log_data[LOG_ID_REF] = foc.id;

				break;

			case OPEN_LOOP_CTRL_VOLTAGE:

			default:

				break;
		}

    	//SEND UART DMA
    	UART_Log_Send(&huart8, log_data);
    }

}
/* USER CODE END 4 */

 /* MPU Configuration */

void MPU_Config(void)
{
  MPU_Region_InitTypeDef MPU_InitStruct = {0};

  /* Disables the MPU */
  HAL_MPU_Disable();

  /** Initializes and configures the Region and the memory to be protected
  */
  MPU_InitStruct.Enable = MPU_REGION_ENABLE;
  MPU_InitStruct.Number = MPU_REGION_NUMBER0;
  MPU_InitStruct.BaseAddress = 0x0;
  MPU_InitStruct.Size = MPU_REGION_SIZE_4GB;
  MPU_InitStruct.SubRegionDisable = 0x87;
  MPU_InitStruct.TypeExtField = MPU_TEX_LEVEL0;
  MPU_InitStruct.AccessPermission = MPU_REGION_NO_ACCESS;
  MPU_InitStruct.DisableExec = MPU_INSTRUCTION_ACCESS_DISABLE;
  MPU_InitStruct.IsShareable = MPU_ACCESS_SHAREABLE;
  MPU_InitStruct.IsCacheable = MPU_ACCESS_NOT_CACHEABLE;
  MPU_InitStruct.IsBufferable = MPU_ACCESS_NOT_BUFFERABLE;

  HAL_MPU_ConfigRegion(&MPU_InitStruct);
  /* Enables the MPU */
  HAL_MPU_Enable(MPU_PRIVILEGED_DEFAULT);

}

void Error_Handler(void)
{
  __disable_irq();
  while (1)
  {
  }
}
